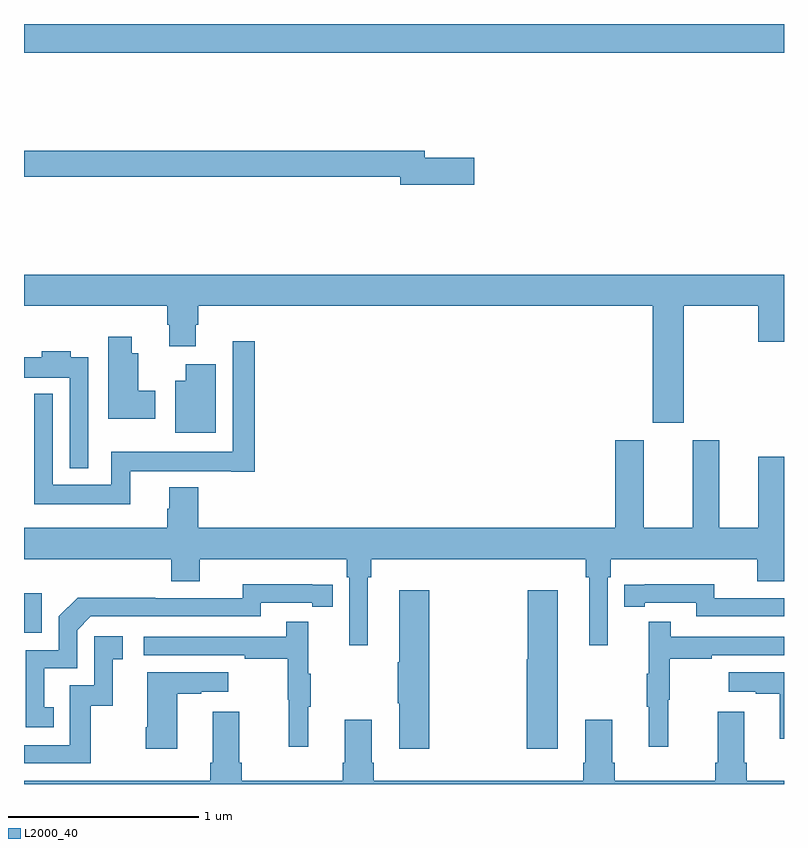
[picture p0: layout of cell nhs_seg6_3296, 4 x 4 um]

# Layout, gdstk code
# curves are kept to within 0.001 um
import gdstk
lib = gdstk.Library(unit=1e-6, precision=1e-09)
def R(c, l, rs):  # rectangles x0, y0, x1, y1
    for r in rs: c.add(gdstk.rectangle(r[:2], r[2:], *l))
def P(c, l, *ps):  # polygons
    for p in ps: c.add(gdstk.Polygon(p, *l))
L2000_40 = (2000, 40)

nhs_seg6_3296 = lib.new_cell('nhs_seg6_3296')
R(nhs_seg6_3296, L2000_40, [(305,932.295,305.094,932.503), (305,935.348,309,935.5)])
P(nhs_seg6_3296, L2000_40, [(307.369,934.796),(307.108,934.796),(307.108,934.832),(305,934.832),(305,934.696),(306.98,934.696),(306.98,934.654),(307.369,934.654)],
  [(308.473,934.016),(308.864,934.016),(308.864,933.828),(309,933.828),(309,934.18),(305,934.18),(305,934.016),(305.753,934.016),(305.753,933.918),(305.765,933.918),(305.765,933.804),(305.905,933.804),(305.905,933.918),(305.918,933.918),(305.918,934.016),(308.309,934.016),(308.309,933.402),(308.473,933.402)],
  [(305.692,933.57),(305.602,933.57),(305.602,933.766),(305.566,933.766),(305.566,933.853),(305.444,933.853),(305.444,933.422),(305.692,933.422)],
  [(305.558,933.146),(306.092,933.146),(306.092,933.144),(306.215,933.144),(306.215,933.829),(306.099,933.829),(306.099,933.25),(305.46,933.25),(305.46,933.076),(305.151,933.076),(305.151,933.553),(305.054,933.553),(305.054,932.972),(305.558,932.972)],
  [(305.337,933.745),(305.245,933.745),(305.245,933.778),(305.093,933.778),(305.093,933.745),(305,933.745),(305,933.638),(305.241,933.638),(305.241,933.161),(305.337,933.161)],
  [(306.01,933.709),(305.852,933.709),(305.852,933.622),(305.795,933.622),(305.795,933.35),(306.01,933.35)],
  [(306.808,932.588),(306.827,932.588),(306.827,932.684),(307.957,932.684),(307.957,932.588),(307.976,932.588),(307.976,932.229),(308.073,932.229),(308.073,932.588),(308.087,932.588),(308.087,932.684),(308.858,932.684),(308.858,932.567),(309,932.567),(309,933.223),(308.864,933.223),(308.864,932.848),(308.659,932.848),(308.659,933.31),(308.519,933.31),(308.519,932.848),(308.263,932.848),(308.263,933.31),(308.111,933.31),(308.111,932.848),(305.918,932.848),(305.918,933.061),(305.765,933.061),(305.765,932.949),(305.753,932.949),(305.753,932.848),(305,932.848),(305,932.684),(305.774,932.684),(305.774,932.567),(305.926,932.567),(305.926,932.684),(306.698,932.684),(306.698,932.588),(306.711,932.588),(306.711,932.229),(306.808,932.229)],
  [(305.156,931.905),(305.107,931.905),(305.107,932.109),(305.28,932.109),(305.28,932.31),(305.352,932.382),(306.246,932.382),(306.246,932.454),(306.518,932.454),(306.518,932.434),(306.626,932.434),(306.626,932.55),(306.15,932.551),(306.15,932.478),(305.69,932.478),(305.69,932.48),(305.282,932.48),(305.184,932.382),(305.184,932.205),(305.01,932.205),(305.01,931.8),(305.156,931.8)],
  [(309,932.478),(308.634,932.478),(308.634,932.551),(308.266,932.551),(308.266,932.55),(308.158,932.55),(308.158,932.434),(308.266,932.434),(308.266,932.454),(308.538,932.454),(308.538,932.382),(309,932.382)],
  [(307.81,932.521),(307.652,932.521),(307.652,932.157),(307.646,932.157),(307.646,931.686),(307.81,931.686)],
  [(307.133,932.521),(306.974,932.521),(306.974,932.141),(306.967,932.141),(306.967,931.924),(306.974,931.924),(306.974,931.686),(307.133,931.686)],
  [(306.497,931.907),(306.508,931.907),(306.508,932.081),(306.497,932.081),(306.497,932.353),(306.379,932.353),(306.379,932.274),(305.631,932.274),(305.631,932.178),(306.163,932.178),(306.163,932.158),(306.387,932.158),(306.387,931.944),(306.394,931.944),(306.394,931.695),(306.497,931.695)],
  [(308.39,931.944),(308.398,931.944),(308.398,932.158),(308.621,932.158),(308.621,932.178),(309,932.178),(309,932.274),(308.405,932.274),(308.405,932.353),(308.288,932.353),(308.288,932.081),(308.277,932.081),(308.277,931.907),(308.288,931.907),(308.288,931.695),(308.39,931.695)],
  [(305.35,931.911),(305.468,931.911),(305.468,932.157),(305.521,932.157),(305.521,932.278),(305.37,932.278),(305.37,932.019),(305.241,932.019),(305.241,931.704),(305,931.704),(305,931.608),(305.35,931.608)],
  [(305.806,931.975),(305.933,931.975),(305.933,931.985),(306.076,931.985),(306.076,932.089),(305.648,932.089),(305.648,931.798),(305.641,931.798),(305.641,931.686),(305.806,931.686)],
  [(309,932.089),(308.709,932.089),(308.709,931.985),(308.852,931.985),(308.852,931.975),(308.978,931.975),(308.978,931.737),(309,931.737)],
  [(306.689,931.837),(306.689,931.612),(306.677,931.612),(306.677,931.516),(306.146,931.516),(306.146,931.612),(306.133,931.612),(306.133,931.879),(305.993,931.879),(305.993,931.612),(305.981,931.612),(305.981,931.516),(305,931.516),(305,931.5),(309,931.5),(309,931.516),(308.804,931.516),(308.804,931.612),(308.791,931.612),(308.791,931.879),(308.651,931.879),(308.651,931.612),(308.639,931.612),(308.639,931.516),(308.108,931.516),(308.108,931.612),(308.095,931.612),(308.095,931.837),(307.955,931.837),(307.955,931.612),(307.943,931.612),(307.943,931.516),(306.842,931.516),(306.842,931.612),(306.829,931.612),(306.829,931.837)])

lib.write_gds('nhs_seg6_3296.gds')
